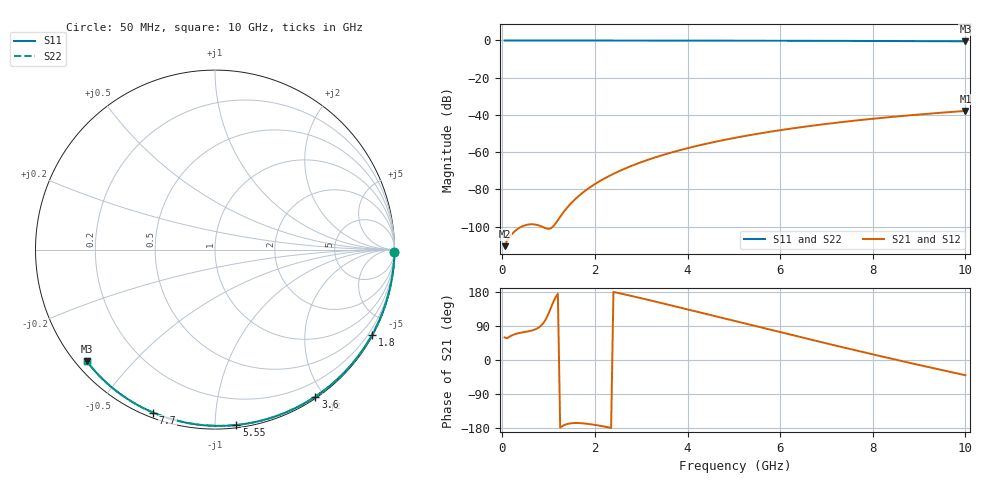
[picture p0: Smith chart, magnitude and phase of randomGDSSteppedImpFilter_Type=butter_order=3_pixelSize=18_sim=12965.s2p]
! freq	dB(S11)	phase(S11)	dB(S12)	phase(S12)
!  dB(S21)	phase(S21)	dB(S22)	phase(S22)
!S-par simulation data
#  GHz  S  DB  R 50
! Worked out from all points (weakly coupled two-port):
!   200 points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, 50 MHz to 10 GHz, reference 50 ohm
!   highest |S21| = -37.83 dB at 10 GHz (marker M1); lowest = -110.4 dB at 50 MHz (marker M2)
!   lowest |S11| = -0.5 dB at 10 GHz (marker M3), VSWR 36.86, Z = 1.55 - j18.7 ohm
!   |S11| at or under -10 dB: nowhere
!   |S22| runs from -0.5 to 0.0 dB; largest |S21 - S12| = 0
!   S11 on the Smith chart (normalised r, x): 50 MHz: open; 1.8 GHz: 0.03, -3.94; 3.6 GHz: 0.02, -1.89; 5.55 GHz: 0.02, -1.13; 7.7 GHz: 0.02, -0.69; 10 GHz: 0.03, -0.37
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0.05  -0.00 -0.8  -110.43 59.5  -110.43 59.5  -0.00 -0.8
0.45  -0.01 -7.2  -99.58 73.2  -99.58 73.2  -0.01 -7.2
0.9  -0.02 -14.4  -100.44 99.6  -100.44 99.6  -0.02 -14.4
1.75  -0.04 -27.7  -81.44 -167.2  -81.44 -167.2  -0.04 -27.7
1.8  -0.04 -28.5  -80.49 -167.8  -80.49 -167.8  -0.04 -28.5
1.85  -0.04 -29.3  -79.59 -168.6  -79.59 -168.6  -0.04 -29.3
2.05  -0.04 -32.4  -76.32 -172.3  -76.32 -172.3  -0.04 -32.4
2.25  -0.05 -35.4  -73.49 -176.8  -73.49 -176.8  -0.05 -35.4
2.55  -0.05 -40.0  -69.85 175.6  -69.85 175.6  -0.05 -40.0
2.95  -0.06 -46.1  -65.80 164.5  -65.80 164.5  -0.06 -46.1
3.4  -0.07 -52.7  -62.01 151.4  -62.01 151.4  -0.07 -52.7
3.6  -0.07 -55.7  -60.52 145.5  -60.52 145.5  -0.07 -55.7
3.9  -0.08 -60.0  -58.47 136.5  -58.47 136.5  -0.08 -60.0
4.3  -0.09 -65.8  -56.03 124.4  -56.03 124.4  -0.09 -65.8
5.05  -0.12 -76.2  -52.15 101.8  -52.15 101.8  -0.12 -76.2
5.55  -0.14 -83.0  -49.94 86.8  -49.94 86.8  -0.14 -83.0
6.1  -0.16 -90.4  -47.80 70.3  -47.80 70.3  -0.16 -90.4
6.7  -0.19 -98.2  -45.74 52.6  -45.74 52.6  -0.19 -98.2
7.7  -0.25 -110.8  -42.81 23.5  -42.81 23.5  -0.25 -110.8
8.35  -0.30 -118.9  -41.19 5.0  -41.19 5.0  -0.30 -118.9
9.2  -0.38 -129.3  -39.34 -18.6  -39.34 -18.6  -0.38 -129.3
10  -0.47 -139.0  -37.83 -40.2  -37.83 -40.2  -0.47 -139.0
